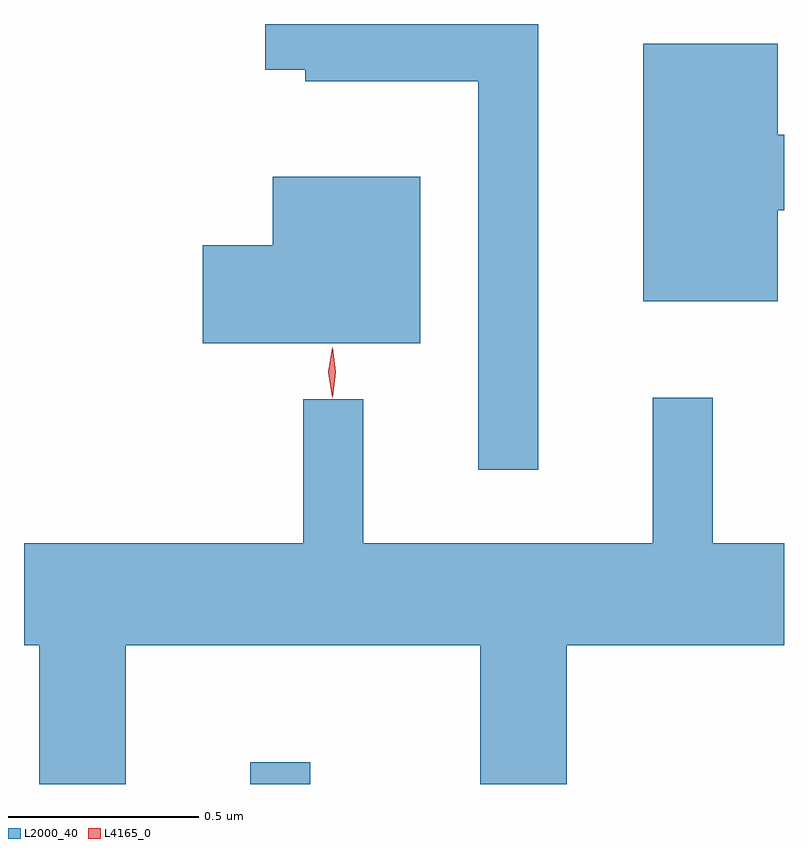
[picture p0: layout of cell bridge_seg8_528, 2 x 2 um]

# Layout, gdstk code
import gdstk
lib = gdstk.Library(unit=1e-6, precision=1e-09)
def R(c, l, rs):  # rectangles x0, y0, x1, y1
    for r in rs: c.add(gdstk.rectangle(r[:2], r[2:], *l))
def P(c, l, *ps):  # polygons
    for p in ps: c.add(gdstk.Polygon(p, *l))
L2000_40 = (2000, 40)
L4165_0 = (4165, 0)

bridge_seg8_528 = lib.new_cell('bridge_seg8_528')
R(bridge_seg8_528, L2000_40, [(227.066,1840.491,227.224,1840.548)])
P(bridge_seg8_528, L2000_40, [(227.824,1842.491),(227.106,1842.491),(227.106,1842.371),(227.211,1842.371),(227.211,1842.341),(227.666,1842.341),(227.666,1841.318),(227.824,1841.318)],
  [(228.454,1842.001),(228.471,1842.001),(228.471,1842.199),(228.454,1842.199),(228.454,1842.439),(228.101,1842.439),(228.101,1841.761),(228.454,1841.761)],
  [(227.514,1842.089),(227.126,1842.089),(227.126,1841.909),(226.941,1841.909),(226.941,1841.651),(227.514,1841.651)],
  [(226.739,1840.856),(227.671,1840.856),(227.671,1840.491),(227.899,1840.491),(227.899,1840.856),(228.471,1840.856),(228.471,1841.124),(228.284,1841.124),(228.284,1841.508),(228.126,1841.508),(228.126,1841.124),(227.364,1841.124),(227.364,1841.503),(227.206,1841.503),(227.206,1841.124),(226.471,1841.124),(226.471,1840.856),(226.511,1840.856),(226.511,1840.491),(226.739,1840.491)])
P(bridge_seg8_528, L4165_0, [(227.282,1841.509),(227.282,1841.509),(227.272,1841.574),(227.282,1841.639),(227.282,1841.64),(227.283,1841.639),(227.292,1841.574),(227.283,1841.509)])

lib.write_gds('bridge_seg8_528.gds')
